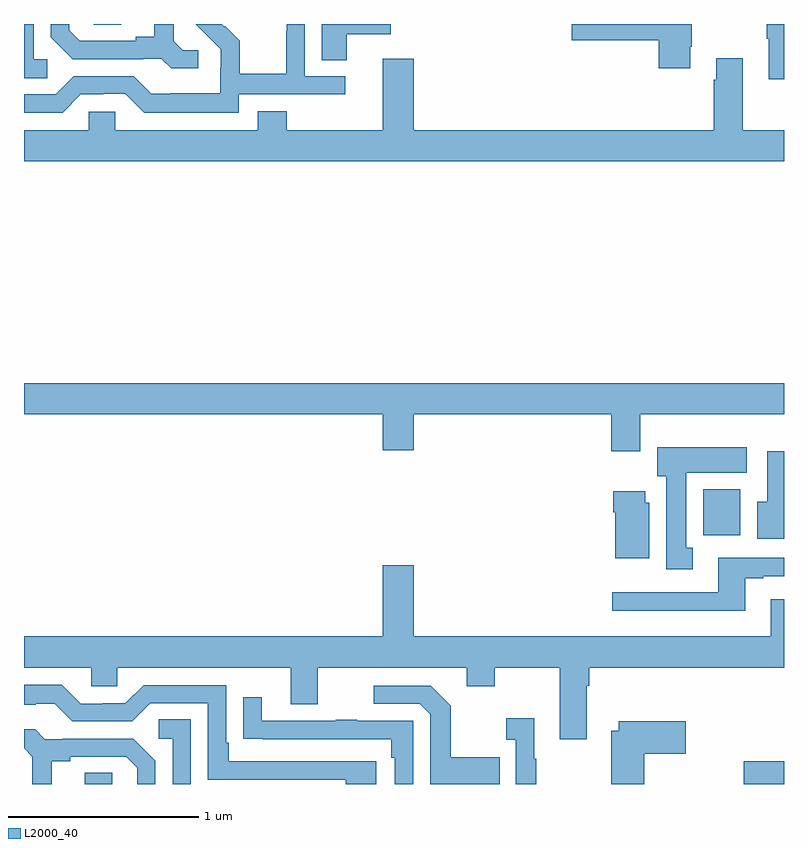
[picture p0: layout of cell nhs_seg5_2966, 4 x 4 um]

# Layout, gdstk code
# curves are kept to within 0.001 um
import gdstk
lib = gdstk.Library(unit=1e-6, precision=1e-09)
def R(c, l, rs):  # rectangles x0, y0, x1, y1
    for r in rs: c.add(gdstk.rectangle(r[:2], r[2:], *l))
def P(c, l, *ps):  # polygons
    for p in ps: c.add(gdstk.Polygon(p, *l))
L2000_40 = (2000, 40)

nhs_seg5_2966 = lib.new_cell('nhs_seg5_2966')
R(nhs_seg5_2966, L2000_40, [(283.319,870.799,283.464,870.857), (286.788,870.799,287,870.92), (286.574,872.108,286.771,872.35), (283.368,874.795,283.513,874.799)])
P(nhs_seg5_2966, L2000_40, [(283.123,874.614),(283.05,874.614),(283.05,874.799),(283,874.799),(283,874.513),(283.123,874.513)],
  [(284.698,874.745),(284.929,874.745),(284.929,874.799),(284.567,874.799),(284.567,874.609),(284.698,874.609)],
  [(283.918,874.662),(283.836,874.662),(283.789,874.709),(283.789,874.799),(283.685,874.799),(283.685,874.733),(283.589,874.733),(283.589,874.71),(283.294,874.71),(283.237,874.767),(283.237,874.799),(283.14,874.799),(283.14,874.73),(283.256,874.614),(283.628,874.614),(283.628,874.617),(283.722,874.617),(283.774,874.565),(283.918,874.565)],
  [(286.507,874.678),(286.515,874.678),(286.515,874.799),(285.882,874.799),(285.882,874.714),(286.34,874.714),(286.34,874.566),(286.507,874.566)],
  [(284.13,874.428),(284.692,874.428),(284.692,874.524),(284.478,874.524),(284.478,874.799),(284.382,874.799),(284.382,874.76),(284.38,874.76),(284.38,874.537),(284.135,874.537),(284.135,874.711),(284.058,874.788),(284.055,874.785),(284.041,874.799),(283.905,874.799),(284.036,874.666),(284.036,874.569),(284.034,874.569),(284.034,874.435),(283.771,874.435),(283.771,874.431),(283.671,874.431),(283.578,874.524),(283.263,874.524),(283.167,874.428),(283,874.428),(283,874.332),(283.203,874.332),(283.299,874.428),(283.418,874.428),(283.418,874.431),(283.533,874.431),(283.633,874.331),(284.13,874.331)],
  [(287,874.799),(286.908,874.799),(286.908,874.721),(286.919,874.721),(286.919,874.509),(287,874.509)],
  [(287,874.24),(286.783,874.24),(286.783,874.618),(286.643,874.618),(286.643,874.505),(286.631,874.505),(286.631,874.24),(285.052,874.24),(285.052,874.615),(284.888,874.615),(284.888,874.24),(284.384,874.24),(284.384,874.339),(284.231,874.339),(284.231,874.24),(283.479,874.24),(283.479,874.338),(283.341,874.338),(283.341,874.24),(283,874.24),(283,874.076),(287,874.076)],
  [(286.243,872.744),(287,872.744),(287,872.908),(283,872.908),(283,872.744),(284.888,872.744),(284.888,872.556),(285.052,872.556),(285.052,872.744),(286.091,872.744),(286.091,872.55),(286.243,872.55)],
  [(286.519,872.042),(286.486,872.042),(286.486,872.438),(286.804,872.438),(286.804,872.572),(286.334,872.572),(286.334,872.418),(286.379,872.418),(286.379,871.929),(286.519,871.929)],
  [(287,872.551),(286.913,872.551),(286.913,872.284),(286.859,872.284),(286.859,872.091),(287,872.091)],
  [(286.291,872.28),(286.27,872.28),(286.27,872.341),(286.1,872.341),(286.1,872.228),(286.112,872.228),(286.112,871.988),(286.291,871.988)],
  [(286.795,871.881),(286.891,871.881),(286.891,871.893),(287,871.893),(287,871.989),(286.655,871.989),(286.655,871.809),(286.095,871.809),(286.095,871.712),(286.795,871.712)],
  [(285.961,871.316),(285.974,871.316),(285.974,871.412),(287,871.412),(287,871.771),(286.931,871.771),(286.931,871.576),(285.052,871.576),(285.052,871.951),(284.888,871.951),(284.888,871.576),(283,871.576),(283,871.412),(283.353,871.412),(283.353,871.314),(283.491,871.314),(283.491,871.412),(284.405,871.412),(284.405,871.218),(284.545,871.218),(284.545,871.412),(285.329,871.412),(285.329,871.313),(285.477,871.313),(285.477,871.412),(285.821,871.412),(285.821,871.035),(285.961,871.035)],
  [(284.854,870.918),(284.077,870.918),(284.077,871.015),(284.064,871.015),(284.064,871.32),(283.629,871.32),(283.533,871.224),(283.415,871.224),(283.415,871.221),(283.299,871.221),(283.199,871.321),(283,871.321),(283,871.217),(283.061,871.217),(283.061,871.221),(283.161,871.221),(283.254,871.128),(283.569,871.128),(283.665,871.224),(283.968,871.224),(283.968,870.822),(284.693,870.822),(284.693,870.799),(284.854,870.799)],
  [(285.503,870.939),(285.247,870.939),(285.247,871.211),(285.141,871.317),(284.841,871.317),(284.841,871.221),(285.084,871.221),(285.138,871.167),(285.138,870.799),(285.503,870.799)],
  [(285.048,871.131),(284.753,871.131),(284.753,871.136),(284.641,871.136),(284.641,871.131),(284.251,871.131),(284.251,871.255),(284.155,871.255),(284.155,871.036),(284.257,871.036),(284.257,871.035),(284.932,871.035),(284.932,870.938),(284.952,870.938),(284.952,870.799),(285.048,870.799)],
  [(285.697,870.931),(285.685,870.931),(285.685,871.144),(285.537,871.144),(285.537,871.031),(285.588,871.031),(285.588,870.799),(285.697,870.799)],
  [(283.878,871.139),(283.71,871.139),(283.71,871.038),(283.782,871.038),(283.782,870.799),(283.878,870.799)],
  [(286.265,870.959),(286.483,870.959),(286.483,871.129),(286.13,871.129),(286.13,871.078),(286.09,871.078),(286.09,870.799),(286.265,870.799)],
  [(283.147,870.92),(283.243,870.92),(283.243,870.942),(283.538,870.942),(283.595,870.885),(283.595,870.799),(283.692,870.799),(283.692,870.922),(283.576,871.038),(283.204,871.038),(283.204,871.035),(283.11,871.035),(283.058,871.087),(283,871.087),(283,870.986),(283.043,870.943),(283.043,870.799),(283.147,870.799)])

lib.write_gds('nhs_seg5_2966.gds')
